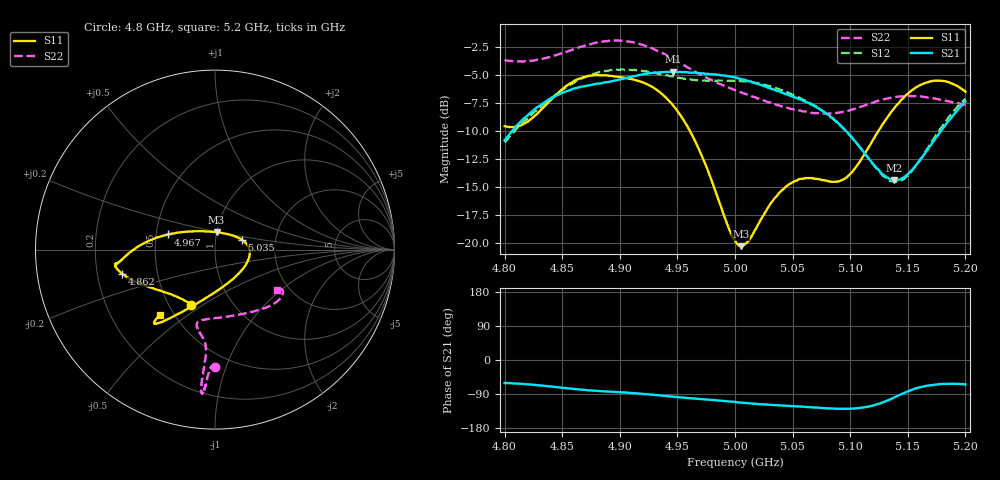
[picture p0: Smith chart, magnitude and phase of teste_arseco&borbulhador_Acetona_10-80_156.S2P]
! Network Analyzer HP8722D
! Hewlett-Packard
! Data name: Linha & Wilkinson
! Saver's name: Rodrigo Anjos
! Comments: Teste da utilização de aquisição
! continua pelo VNA HP8722D
! Time and date: 17/4/2025 15:39
!  Frequency  S11  S21  S12  S22
# HZ  S  MA R 50
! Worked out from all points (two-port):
!   401 points, 4.8 GHz to 5.2 GHz, reference 50 ohm
!   highest |S21| = -4.67 dB at 4.946 GHz (marker M1); lowest = -14.4 dB at 5.138 GHz (marker M2)
!   |S21| within 3 dB of the highest: 4.831 GHz to 5.068 GHz (236.7 MHz wide, 4.78 % of centre); 5.197054 GHz to end of sweep
!   lowest |S11| = -20.3 dB at 5.005 GHz (marker M3), VSWR 1.21, Z = 49.9 + j9.72 ohm
!   |S11| at or under -10 dB: 4.961 GHz to 5.124 GHz (163.4 MHz wide, 3.24 % of centre)
!   |S22| runs from -8.4 to -1.9 dB; largest |S21 - S12| = 0.87
!   S11 on the Smith chart (normalised r, x): 4.8 GHz: 0.65, -0.45; 4.862 GHz: 0.31, -0.12; 4.967 GHz: 0.58, +0.11; 5.035 GHz: 1.34, +0.15; 5.2 GHz: 0.42, -0.39
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4.8e9  0.3331 -113.2  0.2877 -60.7  0.2814 -174.8  0.6563 -90.0
4.819e9  0.3466 -133.2  0.3684 -63.9  0.3572 -173.5  0.6501 -91.5
4.862e9  0.5358 -165.5  0.4941 -76.7  0.5283 -176.8  0.7415 -93.8
4.867e9  0.5484 -167.6  0.5005 -78.3  0.5441 -177.6  0.7555 -94.0
4.9e9  0.5526 -172.0  0.5386 -85.2  0.5947 175.8  0.8033 -95.3
4.934e9  0.4758 -178.0  0.5791 -93.4  0.571 172.0  0.7177 -95.7
4.946e9  0.4142 176.4  0.5838 -96.8  0.5554 172.1  0.6672 -95.5
4.967e9  0.2741 162.1  0.5757 -102.0  0.5345 174.0  0.577 -95.0
5e9  0.1024 102.5  0.5492 -111.0  0.5316 176.4  0.482 -99.1
5.005e9  0.0968 84.8  0.5402 -112.5  0.5294 176.3  0.4712 -100.2
5.012e9  0.1025 62.1  0.5283 -114.3  0.5247 176.0  0.4579 -101.8
5.035e9  0.1599 20.2  0.4823 -119.2  0.494 174.9  0.4164 -103.2
5.05e9  0.1865 4.9  0.4519 -121.8  0.4604 174.2  0.3973 -99.7
5.067e9  0.1947 -13.3  0.4145 -124.7  0.4172 173.7  0.3823 -90.7
5.086e9  0.1878 -43.3  0.3565 -128.4  0.3554 173.7  0.3802 -76.6
5.097e9  0.1964 -65.9  0.3142 -128.8  0.3139 174.6  0.3895 -67.3
5.134e9  0.3746 -116.2  0.1937 -104.6  0.1905 -157.5  0.4452 -42.9
5.138e9  0.4001 -118.4  0.1905 -99.2  0.1876 -151.2  0.4486 -41.2
5.151e9  0.4699 -124.3  0.2055 -81.6  0.2031 -131.0  0.4547 -36.3
5.17e9  0.5287 -128.7  0.2746 -66.3  0.2794 -112.5  0.4454 -31.9
5.184e9  0.5258 -129.9  0.3446 -63.0  0.3565 -107.2  0.4319 -31.0
5.2e9  0.4751 -130.4  0.429 -64.3  0.4415 -106.3  0.4151 -33.2
